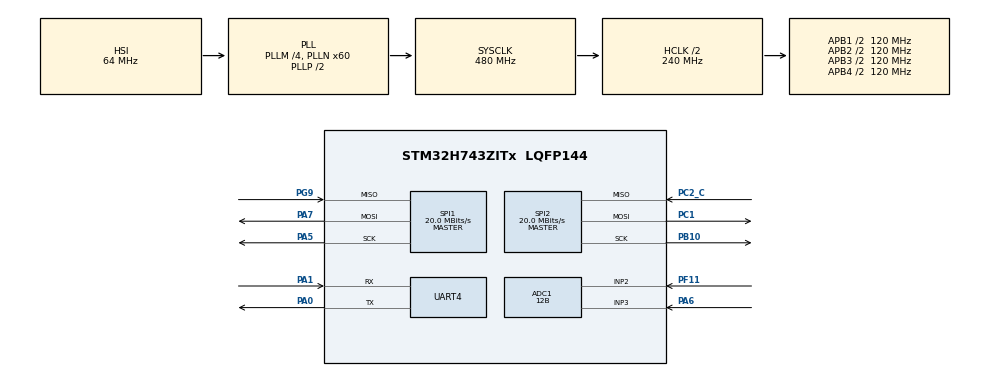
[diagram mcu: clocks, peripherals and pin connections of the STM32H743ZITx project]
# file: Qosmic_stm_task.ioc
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ADC1.Channel-0\#ChannelRegularConversion=ADC_CHANNEL_2
ADC1.Channel-1\#ChannelRegularConversion=ADC_CHANNEL_3
ADC1.NbrOfConversion=2
ADC1.NbrOfConversionFlag=1
ADC1.OffsetNumber-0\#ChannelRegularConversion=ADC_OFFSET_NONE
ADC1.OffsetNumber-1\#ChannelRegularConversion=ADC_OFFSET_NONE
ADC1.OffsetSignedSaturation-0\#ChannelRegularConversion=DISABLE
ADC1.OffsetSignedSaturation-1\#ChannelRegularConversion=DISABLE
ADC1.Rank-0\#ChannelRegularConversion=1
ADC1.Rank-1\#ChannelRegularConversion=2
ADC1.Resolution=ADC_RESOLUTION_12B
ADC1.SamplingTime-0\#ChannelRegularConversion=ADC_SAMPLETIME_32CYCLES_5
ADC1.SamplingTime-1\#ChannelRegularConversion=ADC_SAMPLETIME_32CYCLES_5
ADC1.master=1
CORTEX_M7.default_mode_Activation=1
Mcu.Family=STM32H7
Mcu.Name=STM32H743ZITx
Mcu.Package=LQFP144
NVIC.PriorityGroup=NVIC_PRIORITYGROUP_4
NVIC.TIM2_IRQn=true\:0\:0\:false\:false\:true\:true\:true\:true
PA0.Mode=Asynchronous
PA0.Signal=UART4_TX
PA1.Mode=Asynchronous
PA1.Signal=UART4_RX
PA5.Mode=Full_Duplex_Master
PA5.Signal=SPI1_SCK
PA6.Signal=ADCx_INP3
PA7.Mode=Full_Duplex_Master
PA7.Signal=SPI1_MOSI
PB10.Mode=Full_Duplex_Master
PB10.Signal=SPI2_SCK
PC1.Mode=Full_Duplex_Master
PC1.Signal=SPI2_MOSI
PC2_C.Mode=Full_Duplex_Master
PC2_C.Signal=SPI2_MISO
PF11.Mode=IN2-Single-Ended
PF11.Signal=ADC1_INP2
PG9.Mode=Full_Duplex_Master
PG9.Signal=SPI1_MISO
ProjectManager.HeapSize=0x200
ProjectManager.StackSize=0x400
ProjectManager.TargetToolchain=STM32CubeIDE
RCC.ADCFreq_Value=80000000
RCC.APB1Freq_Value=120000000
RCC.APB2Freq_Value=120000000
RCC.APB3Freq_Value=120000000
RCC.APB4Freq_Value=120000000
RCC.CortexFreq_Value=480000000
RCC.D1PPRE=RCC_APB3_DIV2
RCC.D2PPRE1=RCC_APB1_DIV2
RCC.D2PPRE2=RCC_APB2_DIV2
RCC.D3PPRE=RCC_APB4_DIV2
RCC.DIVM1=4
RCC.DIVM2=4
RCC.DIVN1=60
RCC.DIVN2=10
RCC.DIVQ1=5
RCC.HCLKFreq_Value=240000000
RCC.HPRE=RCC_HCLK_DIV2
RCC.PLL2FRACN=0
RCC.PLL3FRACN=0
RCC.PLLFRACN=0
RCC.SPI123CLockSelection=RCC_SPI123CLKSOURCE_PLL2
RCC.SYSCLKFreq_VALUE=480000000
RCC.SYSCLKSource=RCC_SYSCLKSOURCE_PLLCLK
RCC.USBFreq_Value=192000000
SH.ADCx_INP3.0=ADC1_INP3,IN3-Single-Ended
SPI1.BaudRatePrescaler=SPI_BAUDRATEPRESCALER_4
SPI1.CalculateBaudRate=20.0 MBits/s
SPI1.DataSize=SPI_DATASIZE_16BIT
SPI1.Direction=SPI_DIRECTION_2LINES
SPI1.Mode=SPI_MODE_MASTER
SPI1.VirtualType=VM_MASTER
SPI2.BaudRatePrescaler=SPI_BAUDRATEPRESCALER_4
SPI2.CalculateBaudRate=20.0 MBits/s
SPI2.DataSize=SPI_DATASIZE_16BIT
SPI2.Direction=SPI_DIRECTION_2LINES
SPI2.Mode=SPI_MODE_MASTER
SPI2.VirtualType=VM_MASTER
TIM2.Period=9
TIM2.Prescaler=2400-1
VP_MEMORYMAP_VS_MEMORYMAP.Mode=CurAppReg
VP_TIM2_VS_ClockSourceINT.Mode=Internal
board=custom

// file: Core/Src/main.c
/* USER CODE BEGIN Header */
/**
  ******************************************************************************
  * @file           : main.c
  * @brief          : Main program body
  ******************************************************************************
  * @attention
  *
  * Copyright (c) 2026 STMicroelectronics.
  * All rights reserved.
  *
  * This software is licensed under terms that can be found in the LICENSE file
  * in the root directory of this software component.
  * If no LICENSE file comes with this software, it is provided AS-IS.
  *
  ******************************************************************************
  */
/* USER CODE END Header */
#include "main.h"

/* USER CODE BEGIN Includes */
#include "fsm_control.h"
#include <stdio.h>

/* USER CODE END Includes */

/* USER CODE BEGIN PD */
#define CONTROL_LOOP_ADC_TIMEOUT_TICKS  (1U)
#define CONTROL_LOOP_SPI_TIMEOUT_TICKS  (1U)
#define TELEMETRY_UART_TIMEOUT_TICKS    (2U)
#define ADC_POWER_DEFAULT_COUNTS        (4095U)

/* USER CODE END PD */

ADC_HandleTypeDef hadc1;

SPI_HandleTypeDef hspi1;
SPI_HandleTypeDef hspi2;

TIM_HandleTypeDef htim2;

UART_HandleTypeDef huart4;

/* USER CODE BEGIN PV */
volatile uint16_t qpd_x_raw = QPD_ADC_MIDPOINT;
volatile uint16_t qpd_y_raw = QPD_ADC_MIDPOINT;
volatile uint16_t power_raw = ADC_POWER_DEFAULT_COUNTS;
static char telemetry_buf[96];

/* USER CODE END PV */

void SystemClock_Config(void);
void PeriphCommonClock_Config(void);
static void MPU_Config(void);
static void MX_GPIO_Init(void);
static void MX_TIM2_Init(void);
static void MX_ADC1_Init(void);
static void MX_SPI1_Init(void);
static void MX_SPI2_Init(void);
static void MX_UART4_Init(void);
/* USER CODE BEGIN PFP */
static void ControlLoop_RunOneCycle(void);

/* USER CODE END PFP */

/* USER CODE BEGIN 0 */
static void ControlLoop_RunOneCycle(void)
{
  uint16_t dac_x_counts;
  uint16_t dac_y_counts;

  if (HAL_ADC_Start(&hadc1) != HAL_OK)
  {
    FSMControl_SetState(PAT_STATE_FAULT);
    return;
  }

  if (HAL_ADC_PollForConversion(&hadc1, CONTROL_LOOP_ADC_TIMEOUT_TICKS) != HAL_OK)
  {
    (void)HAL_ADC_Stop(&hadc1);
    FSMControl_SetState(PAT_STATE_FAULT);
    return;
  }
  qpd_x_raw = (uint16_t)HAL_ADC_GetValue(&hadc1);

  if (HAL_ADC_PollForConversion(&hadc1, CONTROL_LOOP_ADC_TIMEOUT_TICKS) != HAL_OK)
  {
    (void)HAL_ADC_Stop(&hadc1);
    FSMControl_SetState(PAT_STATE_FAULT);
    return;
  }
  qpd_y_raw = (uint16_t)HAL_ADC_GetValue(&hadc1);

  if (HAL_ADC_Stop(&hadc1) != HAL_OK)
  {
    FSMControl_SetState(PAT_STATE_FAULT);
    return;
  }

  /* No dedicated ADC power channel is configured yet; use full-scale placeholder. */
  power_raw = ADC_POWER_DEFAULT_COUNTS;

  FSMControl_Update(qpd_x_raw, qpd_y_raw, power_raw);

  dac_x_counts = FSMControl_NormToDAC(g_ctrl.dac_x);
  dac_y_counts = FSMControl_NormToDAC(g_ctrl.dac_y);

  /* SPI2 is used as DAC output path: transmit X and Y channel words each cycle. */
  if (HAL_SPI_Transmit(&hspi2, (uint8_t *)&dac_x_counts, 1U,
                       CONTROL_LOOP_SPI_TIMEOUT_TICKS) != HAL_OK)
  {
    FSMControl_SetState(PAT_STATE_FAULT);
    return;
  }
  if (HAL_SPI_Transmit(&hspi2, (uint8_t *)&dac_y_counts, 1U,
                       CONTROL_LOOP_SPI_TIMEOUT_TICKS) != HAL_OK)
  {
    FSMControl_SetState(PAT_STATE_FAULT);
  }
}

/* USER CODE END 0 */

int main(void)
{

  /* MPU Configuration--------------------------------------------------------*/
  MPU_Config();

  /* MCU Configuration--------------------------------------------------------*/

  /* Reset of all peripherals, Initializes the Flash interface and the Systick. */
  HAL_Init();

  /* Configure the system clock */
  SystemClock_Config();

  /* Configure the peripherals common clocks */
  PeriphCommonClock_Config();

  /* Initialize all configured peripherals */
  MX_GPIO_Init();
  MX_TIM2_Init();
  MX_ADC1_Init();
  MX_SPI1_Init();
  MX_SPI2_Init();
  MX_UART4_Init();
  /* USER CODE BEGIN 2 */
  FSMControl_Init();

  if (HAL_ADCEx_Calibration_Start(&hadc1, ADC_CALIB_OFFSET, ADC_SINGLE_ENDED) != HAL_OK)
  {
    Error_Handler();
  }

  if (HAL_TIM_Base_Start_IT(&htim2) != HAL_OK)
  {
    Error_Handler();
  }

  /* USER CODE END 2 */

  /* Infinite loop */
  while (1)
  {

    /* USER CODE BEGIN 3 */
    if (g_ctrl.new_data_ready != 0U)
    {
      int telemetry_len;
      float qx;
      float qy;
      float dx;
      float dy;
      uint8_t state;
      uint8_t fade;

      g_ctrl.new_data_ready = 0U;
      __disable_irq();
      qx = g_ctrl.qpd_x;
      qy = g_ctrl.qpd_y;
      dx = g_ctrl.dac_x;
      dy = g_ctrl.dac_y;
      state = (uint8_t)g_ctrl.state;
      fade = g_ctrl.fade_active;
      __enable_irq();

      telemetry_len = snprintf(telemetry_buf, sizeof(telemetry_buf),
                               "%.4f,%.4f,%.4f,%.4f,%u,%u\r\n",
                               qx, qy, dx, dy, state, fade);

      if (telemetry_len > 0)
      {
        (void)HAL_UART_Transmit(&huart4, (uint8_t *)telemetry_buf,
                                (uint16_t)telemetry_len,
                                TELEMETRY_UART_TIMEOUT_TICKS);
      }
    }
  }
  /* USER CODE END 3 */
}

void SystemClock_Config(void)
{
  RCC_OscInitTypeDef RCC_OscInitStruct = {0};
  RCC_ClkInitTypeDef RCC_ClkInitStruct = {0};

  /** Supply configuration update enable
  */
  HAL_PWREx_ConfigSupply(PWR_LDO_SUPPLY);

  /** Configure the main internal regulator output voltage
  */
  __HAL_PWR_VOLTAGESCALING_CONFIG(PWR_REGULATOR_VOLTAGE_SCALE0);

  while(!__HAL_PWR_GET_FLAG(PWR_FLAG_VOSRDY)) {}

  /** Initializes the RCC Oscillators according to the specified parameters
  * in the RCC_OscInitTypeDef structure.
  */
  RCC_OscInitStruct.OscillatorType = RCC_OSCILLATORTYPE_HSI;
  RCC_OscInitStruct.HSIState = RCC_HSI_DIV1;
  RCC_OscInitStruct.HSICalibrationValue = RCC_HSICALIBRATION_DEFAULT;
  RCC_OscInitStruct.PLL.PLLState = RCC_PLL_ON;
  RCC_OscInitStruct.PLL.PLLSource = RCC_PLLSOURCE_HSI;
  RCC_OscInitStruct.PLL.PLLM = 4;
  RCC_OscInitStruct.PLL.PLLN = 60;
  RCC_OscInitStruct.PLL.PLLP = 2;
  RCC_OscInitStruct.PLL.PLLQ = 5;
  RCC_OscInitStruct.PLL.PLLR = 2;
  RCC_OscInitStruct.PLL.PLLRGE = RCC_PLL1VCIRANGE_3;
  RCC_OscInitStruct.PLL.PLLVCOSEL = RCC_PLL1VCOWIDE;
  RCC_OscInitStruct.PLL.PLLFRACN = 0;
  if (HAL_RCC_OscConfig(&RCC_OscInitStruct) != HAL_OK)
  {
    Error_Handler();
  }

  /** Initializes the CPU, AHB and APB buses clocks
  */
  RCC_ClkInitStruct.ClockType = RCC_CLOCKTYPE_HCLK|RCC_CLOCKTYPE_SYSCLK
                              |RCC_CLOCKTYPE_PCLK1|RCC_CLOCKTYPE_PCLK2
                              |RCC_CLOCKTYPE_D3PCLK1|RCC_CLOCKTYPE_D1PCLK1;
  RCC_ClkInitStruct.SYSCLKSource = RCC_SYSCLKSOURCE_PLLCLK;
  RCC_ClkInitStruct.SYSCLKDivider = RCC_SYSCLK_DIV1;
  RCC_ClkInitStruct.AHBCLKDivider = RCC_HCLK_DIV2;
  RCC_ClkInitStruct.APB3CLKDivider = RCC_APB3_DIV2;
  RCC_ClkInitStruct.APB1CLKDivider = RCC_APB1_DIV2;
  RCC_ClkInitStruct.APB2CLKDivider = RCC_APB2_DIV2;
  RCC_ClkInitStruct.APB4CLKDivider = RCC_APB4_DIV2;

  if (HAL_RCC_ClockConfig(&RCC_ClkInitStruct, FLASH_LATENCY_4) != HAL_OK)
  {
    Error_Handler();
  }
}

void PeriphCommonClock_Config(void)
{
  RCC_PeriphCLKInitTypeDef PeriphClkInitStruct = {0};

  /** Initializes the peripherals clock
  */
  PeriphClkInitStruct.PeriphClockSelection = RCC_PERIPHCLK_ADC|RCC_PERIPHCLK_SPI2
                              |RCC_PERIPHCLK_SPI1;
  PeriphClkInitStruct.PLL2.PLL2M = 4;
  PeriphClkInitStruct.PLL2.PLL2N = 10;
  PeriphClkInitStruct.PLL2.PLL2P = 2;
  PeriphClkInitStruct.PLL2.PLL2Q = 2;
  PeriphClkInitStruct.PLL2.PLL2R = 2;
  PeriphClkInitStruct.PLL2.PLL2RGE = RCC_PLL2VCIRANGE_3;
  PeriphClkInitStruct.PLL2.PLL2VCOSEL = RCC_PLL2VCOMEDIUM;
  PeriphClkInitStruct.PLL2.PLL2FRACN = 0;
  PeriphClkInitStruct.Spi123ClockSelection = RCC_SPI123CLKSOURCE_PLL2;
  PeriphClkInitStruct.AdcClockSelection = RCC_ADCCLKSOURCE_PLL2;
  if (HAL_RCCEx_PeriphCLKConfig(&PeriphClkInitStruct) != HAL_OK)
  {
    Error_Handler();
  }
}

static void MX_ADC1_Init(void)
{

  ADC_MultiModeTypeDef multimode = {0};
  ADC_ChannelConfTypeDef sConfig = {0};

  /** Common config
  */
  hadc1.Instance = ADC1;
  hadc1.Init.ClockPrescaler = ADC_CLOCK_ASYNC_DIV1;
  hadc1.Init.Resolution = ADC_RESOLUTION_12B;
  hadc1.Init.ScanConvMode = ADC_SCAN_ENABLE;
  hadc1.Init.EOCSelection = ADC_EOC_SINGLE_CONV;
  hadc1.Init.LowPowerAutoWait = DISABLE;
  hadc1.Init.ContinuousConvMode = DISABLE;
  hadc1.Init.NbrOfConversion = 2;
  hadc1.Init.DiscontinuousConvMode = DISABLE;
  hadc1.Init.ExternalTrigConv = ADC_SOFTWARE_START;
  hadc1.Init.ExternalTrigConvEdge = ADC_EXTERNALTRIGCONVEDGE_NONE;
  hadc1.Init.ConversionDataManagement = ADC_CONVERSIONDATA_DR;
  hadc1.Init.Overrun = ADC_OVR_DATA_PRESERVED;
  hadc1.Init.LeftBitShift = ADC_LEFTBITSHIFT_NONE;
  hadc1.Init.OversamplingMode = DISABLE;
  hadc1.Init.Oversampling.Ratio = 1;
  if (HAL_ADC_Init(&hadc1) != HAL_OK)
  {
    Error_Handler();
  }

  /** Configure the ADC multi-mode
  */
  multimode.Mode = ADC_MODE_INDEPENDENT;
  if (HAL_ADCEx_MultiModeConfigChannel(&hadc1, &multimode) != HAL_OK)
  {
    Error_Handler();
  }

  /** Configure Regular Channel
  */
  sConfig.Channel = ADC_CHANNEL_2;
  sConfig.Rank = ADC_REGULAR_RANK_1;
  sConfig.SamplingTime = ADC_SAMPLETIME_32CYCLES_5;
  sConfig.SingleDiff = ADC_SINGLE_ENDED;
  sConfig.OffsetNumber = ADC_OFFSET_NONE;
  sConfig.Offset = 0;
  sConfig.OffsetSignedSaturation = DISABLE;
  if (HAL_ADC_ConfigChannel(&hadc1, &sConfig) != HAL_OK)
  {
    Error_Handler();
  }

  /** Configure Regular Channel
  */
  sConfig.Channel = ADC_CHANNEL_3;
  sConfig.Rank = ADC_REGULAR_RANK_2;
  if (HAL_ADC_ConfigChannel(&hadc1, &sConfig) != HAL_OK)
  {
    Error_Handler();
  }

}

static void MX_SPI1_Init(void)
{

  /* SPI1 parameter configuration*/
  hspi1.Instance = SPI1;
  hspi1.Init.Mode = SPI_MODE_MASTER;
  hspi1.Init.Direction = SPI_DIRECTION_2LINES;
  hspi1.Init.DataSize = SPI_DATASIZE_16BIT;
  hspi1.Init.CLKPolarity = SPI_POLARITY_LOW;
  hspi1.Init.CLKPhase = SPI_PHASE_1EDGE;
  hspi1.Init.NSS = SPI_NSS_SOFT;
  hspi1.Init.BaudRatePrescaler = SPI_BAUDRATEPRESCALER_4;
  hspi1.Init.FirstBit = SPI_FIRSTBIT_MSB;
  hspi1.Init.TIMode = SPI_TIMODE_DISABLE;
  hspi1.Init.CRCCalculation = SPI_CRCCALCULATION_DISABLE;
  hspi1.Init.CRCPolynomial = 0x0;
  hspi1.Init.NSSPMode = SPI_NSS_PULSE_ENABLE;
  hspi1.Init.NSSPolarity = SPI_NSS_POLARITY_LOW;
  hspi1.Init.FifoThreshold = SPI_FIFO_THRESHOLD_01DATA;
  hspi1.Init.TxCRCInitializationPattern = SPI_CRC_INITIALIZATION_ALL_ZERO_PATTERN;
  hspi1.Init.RxCRCInitializationPattern = SPI_CRC_INITIALIZATION_ALL_ZERO_PATTERN;
  hspi1.Init.MasterSSIdleness = SPI_MASTER_SS_IDLENESS_00CYCLE;
  hspi1.Init.MasterInterDataIdleness = SPI_MASTER_INTERDATA_IDLENESS_00CYCLE;
  hspi1.Init.MasterReceiverAutoSusp = SPI_MASTER_RX_AUTOSUSP_DISABLE;
  hspi1.Init.MasterKeepIOState = SPI_MASTER_KEEP_IO_STATE_DISABLE;
  hspi1.Init.IOSwap = SPI_IO_SWAP_DISABLE;
  if (HAL_SPI_Init(&hspi1) != HAL_OK)
  {
    Error_Handler();
  }

}

static void MX_SPI2_Init(void)
{

  /* SPI2 parameter configuration*/
  hspi2.Instance = SPI2;
  hspi2.Init.Mode = SPI_MODE_MASTER;
  hspi2.Init.Direction = SPI_DIRECTION_2LINES;
  hspi2.Init.DataSize = SPI_DATASIZE_16BIT;
  hspi2.Init.CLKPolarity = SPI_POLARITY_LOW;
  hspi2.Init.CLKPhase = SPI_PHASE_1EDGE;
  hspi2.Init.NSS = SPI_NSS_SOFT;
  hspi2.Init.BaudRatePrescaler = SPI_BAUDRATEPRESCALER_4;
  hspi2.Init.FirstBit = SPI_FIRSTBIT_MSB;
  hspi2.Init.TIMode = SPI_TIMODE_DISABLE;
  hspi2.Init.CRCCalculation = SPI_CRCCALCULATION_DISABLE;
  hspi2.Init.CRCPolynomial = 0x0;
  hspi2.Init.NSSPMode = SPI_NSS_PULSE_ENABLE;
  hspi2.Init.NSSPolarity = SPI_NSS_POLARITY_LOW;
  hspi2.Init.FifoThreshold = SPI_FIFO_THRESHOLD_01DATA;
  hspi2.Init.TxCRCInitializationPattern = SPI_CRC_INITIALIZATION_ALL_ZERO_PATTERN;
  hspi2.Init.RxCRCInitializationPattern = SPI_CRC_INITIALIZATION_ALL_ZERO_PATTERN;
  hspi2.Init.MasterSSIdleness = SPI_MASTER_SS_IDLENESS_00CYCLE;
  hspi2.Init.MasterInterDataIdleness = SPI_MASTER_INTERDATA_IDLENESS_00CYCLE;
  hspi2.Init.MasterReceiverAutoSusp = SPI_MASTER_RX_AUTOSUSP_DISABLE;
  hspi2.Init.MasterKeepIOState = SPI_MASTER_KEEP_IO_STATE_DISABLE;
  hspi2.Init.IOSwap = SPI_IO_SWAP_DISABLE;
  if (HAL_SPI_Init(&hspi2) != HAL_OK)
  {
    Error_Handler();
  }

}

static void MX_TIM2_Init(void)
{

  TIM_ClockConfigTypeDef sClockSourceConfig = {0};
  TIM_MasterConfigTypeDef sMasterConfig = {0};

  htim2.Instance = TIM2;
  htim2.Init.Prescaler = 2400-1;
  htim2.Init.CounterMode = TIM_COUNTERMODE_UP;
  htim2.Init.Period = 9;
  htim2.Init.ClockDivision = TIM_CLOCKDIVISION_DIV1;
  htim2.Init.AutoReloadPreload = TIM_AUTORELOAD_PRELOAD_DISABLE;
  if (HAL_TIM_Base_Init(&htim2) != HAL_OK)
  {
    Error_Handler();
  }
  sClockSourceConfig.ClockSource = TIM_CLOCKSOURCE_INTERNAL;
  if (HAL_TIM_ConfigClockSource(&htim2, &sClockSourceConfig) != HAL_OK)
  {
    Error_Handler();
  }
  sMasterConfig.MasterOutputTrigger = TIM_TRGO_RESET;
  sMasterConfig.MasterSlaveMode = TIM_MASTERSLAVEMODE_DISABLE;
  if (HAL_TIMEx_MasterConfigSynchronization(&htim2, &sMasterConfig) != HAL_OK)
  {
    Error_Handler();
  }

}

static void MX_UART4_Init(void)
{

  huart4.Instance = UART4;
  huart4.Init.BaudRate = 115200;
  huart4.Init.WordLength = UART_WORDLENGTH_8B;
  huart4.Init.StopBits = UART_STOPBITS_1;
  huart4.Init.Parity = UART_PARITY_NONE;
  huart4.Init.Mode = UART_MODE_TX_RX;
  huart4.Init.HwFlowCtl = UART_HWCONTROL_NONE;
  huart4.Init.OverSampling = UART_OVERSAMPLING_16;
  huart4.Init.OneBitSampling = UART_ONE_BIT_SAMPLE_DISABLE;
  huart4.Init.ClockPrescaler = UART_PRESCALER_DIV1;
  huart4.AdvancedInit.AdvFeatureInit = UART_ADVFEATURE_NO_INIT;
  if (HAL_UART_Init(&huart4) != HAL_OK)
  {
    Error_Handler();
  }
  if (HAL_UARTEx_SetTxFifoThreshold(&huart4, UART_TXFIFO_THRESHOLD_1_8) != HAL_OK)
  {
    Error_Handler();
  }
  if (HAL_UARTEx_SetRxFifoThreshold(&huart4, UART_RXFIFO_THRESHOLD_1_8) != HAL_OK)
  {
    Error_Handler();
  }
  if (HAL_UARTEx_DisableFifoMode(&huart4) != HAL_OK)
  {
    Error_Handler();
  }

}

static void MX_GPIO_Init(void)
{

  /* GPIO Ports Clock Enable */
  __HAL_RCC_GPIOC_CLK_ENABLE();
  __HAL_RCC_GPIOA_CLK_ENABLE();
  __HAL_RCC_GPIOF_CLK_ENABLE();
  __HAL_RCC_GPIOB_CLK_ENABLE();
  __HAL_RCC_GPIOG_CLK_ENABLE();

}

/* USER CODE BEGIN 4 */
void HAL_TIM_PeriodElapsedCallback(TIM_HandleTypeDef *htim)
{
  if (htim->Instance == TIM2)
  {
    ControlLoop_RunOneCycle();
  }
}

/* USER CODE END 4 */

 /* MPU Configuration */

void MPU_Config(void)
{
  MPU_Region_InitTypeDef MPU_InitStruct = {0};

  /* Disables the MPU */
  HAL_MPU_Disable();

  /** Initializes and configures the Region and the memory to be protected
  */
  MPU_InitStruct.Enable = MPU_REGION_ENABLE;
  MPU_InitStruct.Number = MPU_REGION_NUMBER0;
  MPU_InitStruct.BaseAddress = 0x0;
  MPU_InitStruct.Size = MPU_REGION_SIZE_4GB;
  MPU_InitStruct.SubRegionDisable = 0x87;
  MPU_InitStruct.TypeExtField = MPU_TEX_LEVEL0;
  MPU_InitStruct.AccessPermission = MPU_REGION_NO_ACCESS;
  MPU_InitStruct.DisableExec = MPU_INSTRUCTION_ACCESS_DISABLE;
  MPU_InitStruct.IsShareable = MPU_ACCESS_SHAREABLE;
  MPU_InitStruct.IsCacheable = MPU_ACCESS_NOT_CACHEABLE;
  MPU_InitStruct.IsBufferable = MPU_ACCESS_NOT_BUFFERABLE;

  HAL_MPU_ConfigRegion(&MPU_InitStruct);
  /* Enables the MPU */
  HAL_MPU_Enable(MPU_PRIVILEGED_DEFAULT);

}

void Error_Handler(void)
{
  __disable_irq();
  while (1)
  {
  }
}
